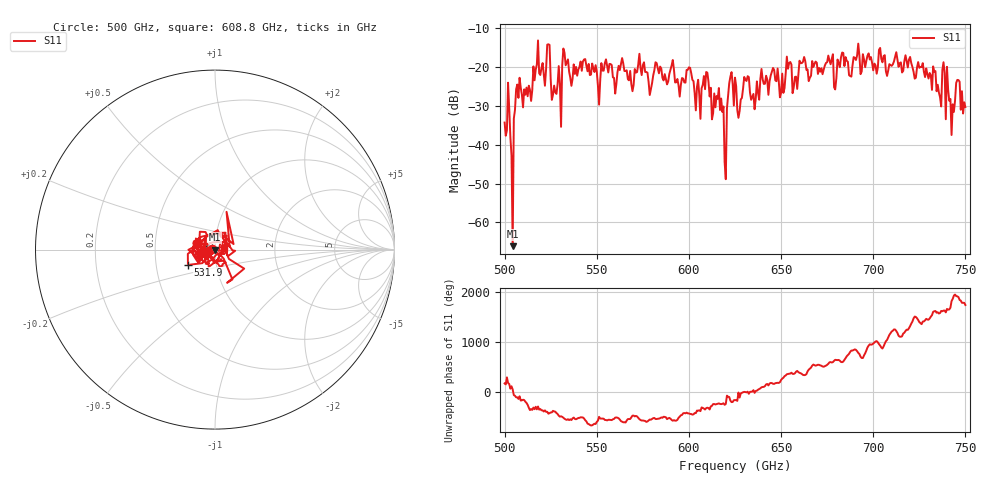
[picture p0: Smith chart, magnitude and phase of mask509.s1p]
!Created with skrf (http://scikit-rf.org).
# GHz S MA R 50.0
!freq magS11 angS11
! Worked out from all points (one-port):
!   401 points, 500 GHz to 750 GHz, reference 50 ohm
!   lowest |S11| = -66.1 dB at 504.4 GHz (marker M1), VSWR 1.00, Z = 50 + j0.0403 ohm
!   |S11| at or under -10 dB: start of sweep to end of sweep
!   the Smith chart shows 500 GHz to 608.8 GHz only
!   S11 on the Smith chart (normalised r, x): 500 GHz: 0.96, +0.00; 531.9 GHz: 0.73, -0.13; 608.8 GHz: 1.11, +0.02
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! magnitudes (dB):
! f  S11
! 500 GHz  -34.3
! 501.9 GHz  -24.0
! 504.4 GHz  -66.1
! 507.5 GHz  -27.9
! 513.8 GHz  -25.9
! 516.9 GHz  -20.7
! 523.8 GHz  -14.1
! 526.9 GHz  -24.8
! 531.2 GHz  -19.7
! 531.9 GHz  -15.2
! 562.5 GHz  -20.8
! 593.8 GHz  -23.1
! 600 GHz  -20.1
! 605 GHz  -23.3
! 608.8 GHz  -25.7
! 617.5 GHz  -28.1
! 619.4 GHz  -44.5
! 622.5 GHz  -22.5
! 625 GHz  -22.7
! 627.5 GHz  -31.3
! 631.2 GHz  -23.6
! 635 GHz  -26.9
! 650.6 GHz  -21.7
! 654.4 GHz  -19.0
! 656.2 GHz  -26.7
! 687.5 GHz  -22.3
! 718.8 GHz  -20.1
! 750 GHz  -30.3
